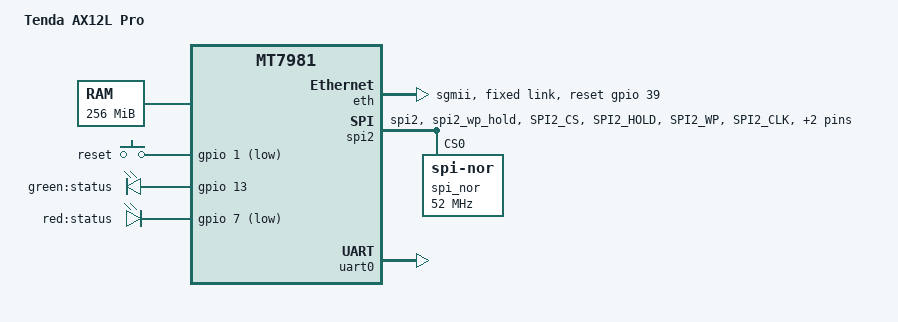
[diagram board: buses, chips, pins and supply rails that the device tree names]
// SPDX-License-Identifier: GPL-2.0

/dts-v1/;
#include "mt7981.dtsi"
#include <dt-bindings/gpio/gpio.h>

/ {
	#address-cells = <1>;
	#size-cells = <1>;
	model = "Tenda AX12L Pro";
	compatible = "mediatek,mt7981";

	chosen {
		stdout-path = &uart0;
		tick-timer = &timer0;
	};

	config {
		bootcmd = "mtkboardboot";
		blink_led = "red:status";
		system_led = "green:status";
	};

	memory@40000000 {
		device_type = "memory";
		reg = <0x40000000 0x10000000>;
	};

	gpio-keys {
		compatible = "gpio-keys";
		pinctrl-names = "default";
		pinctrl-0 = <&gpio_init_pins>;

		reset-button {
			label = "reset";
			gpios = <&gpio 1 GPIO_ACTIVE_LOW>;
			debounce-interval = <100>;
		};
	};

	leds {
		compatible = "gpio-leds";

		green-status {
			label = "green:status";
			gpios = <&gpio 13 GPIO_ACTIVE_HIGH>;
			default-state = "on";
		};

		red-status {
			label = "red:status";
			gpios = <&gpio 7 GPIO_ACTIVE_LOW>;
			default-state = "off";
		};
	};

	bl2_verify {
		bl2_compatible = "spim-nor";
	};
};

&eth {
	status = "okay";
	mediatek,gmac-id = <0>;
	phy-mode = "sgmii";
	mediatek,switch = "mt7531";
	reset-gpios = <&gpio 39 GPIO_ACTIVE_HIGH>;

	fixed-link {
		speed = <1000>;
		full-duplex;
	};
};

&pinctrl {
	gpio_init_pins: gpio-init-pins {
		mux {
			function = "gpio";
			groups = "gpio1", "gpio7", "gpio13";
		};
	};

	spi2_flash_pins: spi2-spi2-pins {
		mux {
			function = "spi";
			groups = "spi2", "spi2_wp_hold";
		};

		conf-pu {
			pins = "SPI2_CS", "SPI2_HOLD", "SPI2_WP";
			drive-strength = <MTK_DRIVE_8mA>;
			bias-pull-down = <MTK_PUPD_SET_R1R0_00>;
		};

		conf-pd {
			pins = "SPI2_CLK", "SPI2_MOSI", "SPI2_MISO";
			drive-strength = <MTK_DRIVE_8mA>;
			bias-pull-down = <MTK_PUPD_SET_R1R0_00>;
		};
	};
};

&spi2 {
	#address-cells = <1>;
	#size-cells = <0>;
	pinctrl-names = "default";
	pinctrl-0 = <&spi2_flash_pins>;
	status = "okay";
	must_tx;
	enhance_timing;
	dma_ext;
	ipm_design;
	support_quad;
	tick_dly = <2>;
	sample_sel = <0>;

	spi_nor@0 {
		compatible = "jedec,spi-nor";
		reg = <0>;
		spi-max-frequency = <52000000>;
	};
};

&uart0 {
	status = "okay";
};

&watchdog {
	status = "disabled";
};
